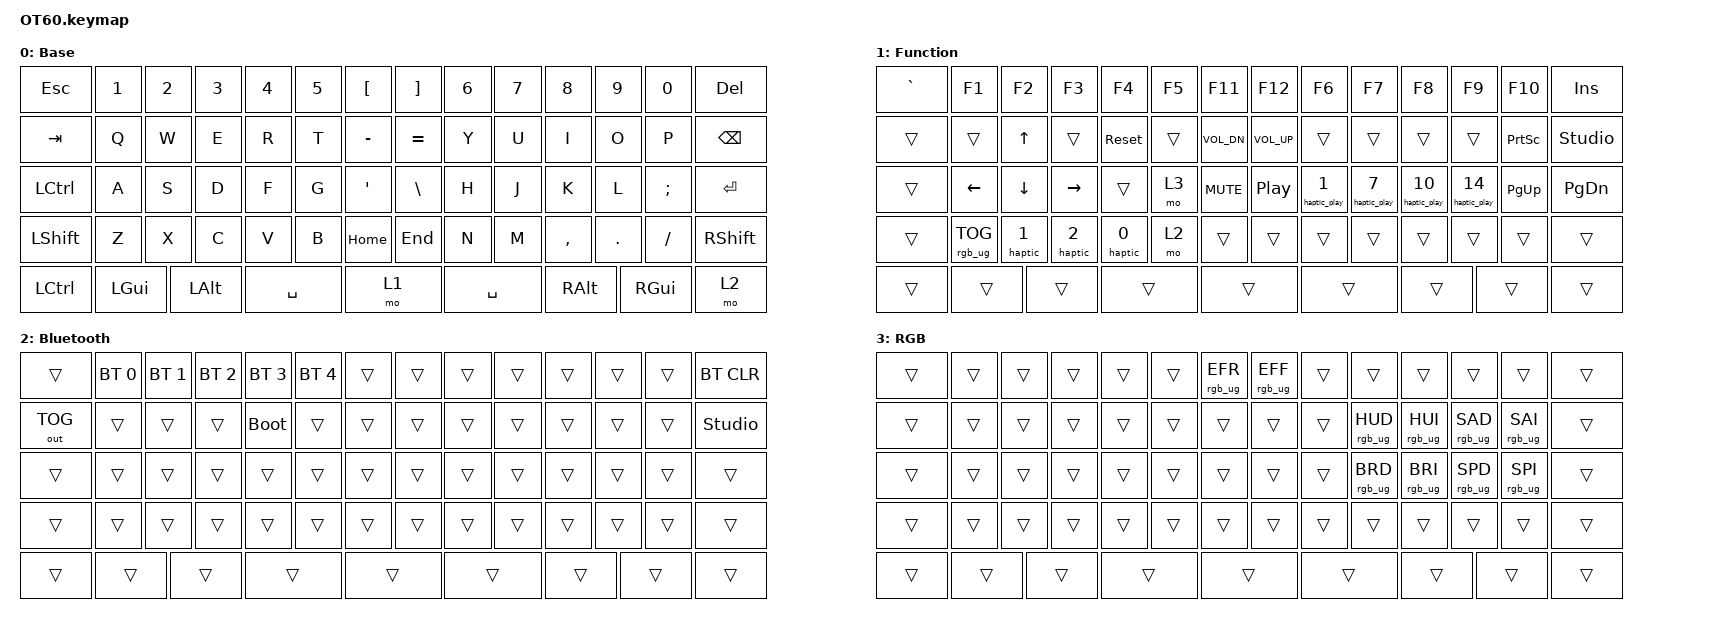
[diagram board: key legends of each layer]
/* Copyright (c) 2026 Team PHDesign
 * SPDX-License-Identifier: MIT
 */

#include <behaviors.dtsi>
#include <dt-bindings/zmk/keys.h>
#include <dt-bindings/zmk/bt.h>
#include <dt-bindings/zmk/outputs.h>
#include <dt-bindings/zmk/rgb.h>
#include "OT60-rgb.dtsi"

/ {
    behaviors {
        haptic: haptic {
            compatible = "phdesign,behavior-ot60-haptic";
            #binding-cells = <1>;
            display-name = "Right haptic";
        };
        haptic_play: haptic_play {
            compatible = "phdesign,behavior-ot60-haptic-play";
            #binding-cells = <1>;
            display-name = "Right haptic effect";
        };
        ht_user1: ht_user1 {
            compatible = "zmk,behavior-hold-tap";
            #binding-cells = <2>;
            flavor = "hold-preferred";
            tapping-term-ms = <200>;
            bindings = <&kp>, <&kp>;
        };
        ht_user2: ht_user2 {
            compatible = "zmk,behavior-hold-tap";
            #binding-cells = <2>;
            flavor = "balanced";
            tapping-term-ms = <150>;
            bindings = <&kp>, <&kp>;
        };
    };
    combos {
        compatible = "zmk,combos";
        combo_reserved_0 {
            reserved;
            key-positions = <0 1>;
            bindings = <&none>;
            timeout-ms = <50>;
        };
        combo_reserved_1 {
            reserved;
            key-positions = <0 1>;
            bindings = <&none>;
            timeout-ms = <50>;
        };
        combo_reserved_2 {
            reserved;
            key-positions = <0 1>;
            bindings = <&none>;
            timeout-ms = <50>;
        };
        combo_reserved_3 {
            reserved;
            key-positions = <0 1>;
            bindings = <&none>;
            timeout-ms = <50>;
        };
        combo_reserved_4 {
            reserved;
            key-positions = <0 1>;
            bindings = <&none>;
            timeout-ms = <50>;
        };
    };
    keymap {
        compatible = "zmk,keymap";
        base_layer {
            display-name = "Base";
            bindings = <
                &kp ESC  &kp N1  &kp N2  &kp N3  &kp N4  &kp N5  &kp LBKT  &kp RBKT  &kp N6  &kp N7  &kp N8  &kp N9  &kp N0  &kp DEL
                &kp TAB  &kp Q  &kp W  &kp E  &kp R  &kp T  &kp MINUS  &kp EQUAL  &kp Y  &kp U  &kp I  &kp O  &kp P  &kp BSPC
                &kp LCTRL  &kp A  &kp S  &kp D  &kp F  &kp G  &kp SQT  &kp BSLH  &kp H  &kp J  &kp K  &kp L  &kp SEMI  &kp RET
                &kp LSHFT  &kp Z  &kp X  &kp C  &kp V  &kp B  &kp HOME  &kp END  &kp N  &kp M  &kp COMMA  &kp DOT  &kp SLASH  &kp RSHFT
                &kp LCTRL  &kp LGUI  &kp LALT  &kp SPACE  &mo 1  &kp SPACE  &kp RALT  &kp RGUI  &mo 2
            >;
        };
        function_layer {
            display-name = "Function";
            bindings = <
                &kp GRAVE  &kp F1  &kp F2  &kp F3  &kp F4  &kp F5  &kp F11  &kp F12  &kp F6  &kp F7  &kp F8  &kp F9  &kp F10  &kp INS
                &trans  &trans  &kp UP  &trans  &sys_reset  &trans  &kp C_VOL_DN  &kp C_VOL_UP  &trans  &trans  &trans  &trans  &kp PSCRN  &studio_unlock
                &trans  &kp LEFT  &kp DOWN  &kp RIGHT  &trans  &mo 3  &kp C_MUTE  &kp C_PLAY_PAUSE  &haptic_play 1  &haptic_play 7  &haptic_play 10  &haptic_play 14  &kp PG_UP  &kp PG_DN
                &trans  &rgb_ug RGB_TOG  &haptic 1  &haptic 2  &haptic 0  &mo 2  &trans  &trans  &trans  &trans  &trans  &trans  &trans  &trans
                &trans  &trans  &trans  &trans  &trans  &trans  &trans  &trans  &trans
            >;
        };
        bluetooth_layer {
            display-name = "Bluetooth";
            bindings = <
                &trans  &bt BT_SEL 0  &bt BT_SEL 1  &bt BT_SEL 2  &bt BT_SEL 3  &bt BT_SEL 4  &trans  &trans  &trans  &trans  &trans  &trans  &trans  &bt BT_CLR
                &out OUT_TOG  &trans  &trans  &trans  &bootloader  &trans  &trans  &trans  &trans  &trans  &trans  &trans  &trans  &studio_unlock
                &trans  &trans  &trans  &trans  &trans  &trans  &trans  &trans  &trans  &trans  &trans  &trans  &trans  &trans
                &trans  &trans  &trans  &trans  &trans  &trans  &trans  &trans  &trans  &trans  &trans  &trans  &trans  &trans
                &trans  &trans  &trans  &trans  &trans  &trans  &trans  &trans  &trans
            >;
        };
        rgb_layer {
            display-name = "RGB";
            bindings = <
                &trans  &trans  &trans  &trans  &trans  &trans  &rgb_ug RGB_EFR  &rgb_ug RGB_EFF  &trans  &trans  &trans  &trans  &trans  &trans
                &trans  &trans  &trans  &trans  &trans  &trans  &trans  &trans  &trans  &rgb_ug RGB_HUD  &rgb_ug RGB_HUI  &rgb_ug RGB_SAD  &rgb_ug RGB_SAI  &trans
                &trans  &trans  &trans  &trans  &trans  &trans  &trans  &trans  &trans  &rgb_ug RGB_BRD  &rgb_ug RGB_BRI  &rgb_ug RGB_SPD  &rgb_ug RGB_SPI  &trans
                &trans  &trans  &trans  &trans  &trans  &trans  &trans  &trans  &trans  &trans  &trans  &trans  &trans  &trans
                &trans  &trans  &trans  &trans  &trans  &trans  &trans  &trans  &trans
            >;
        };
        extra1 { display-name = "Extra 1"; status = "reserved"; };
        extra2 { display-name = "Extra 2"; status = "reserved"; };
    };
};
